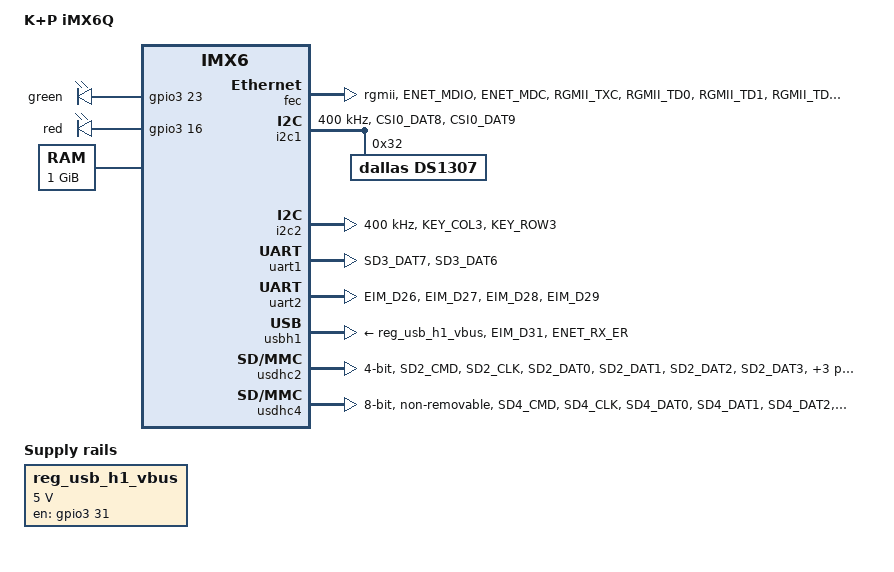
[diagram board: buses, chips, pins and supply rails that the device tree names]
// SPDX-License-Identifier: GPL-2.0+
/*
 * Copyright 2018
 * Lukasz Majewski, DENX Software Engineering, lukma@denx.de
 *
 * SPDX-License-Identifier:     GPL-2.0+ or X11
 */

/dts-v1/;
#include <dt-bindings/gpio/gpio.h>
#include "imx6q.dtsi"

/ {
	model = "K+P iMX6Q";
	compatible = "kp,imx6-kp", "fsl,imx6";

	aliases {
		mmc0 = &usdhc2;
		mmc1 = &usdhc4;
		usb1 = &usbh1;
	};

	chosen {
		stdout-path = &uart1;
	};

	leds {
		compatible = "gpio-leds";
		pinctrl-names = "default";
		pinctrl-0 = <&pinctrl_leds>;

		green {
			label = "green";
			gpios = <&gpio3 23 GPIO_ACTIVE_HIGH>;
			linux,default-trigger = "gpio";
			default-state = "off";
		};

		red {
			label = "red";
			gpios = <&gpio3 16 GPIO_ACTIVE_HIGH>;
			linux,default-trigger = "gpio";
			default-state = "off";
		};
	};

	memory@10000000 {
		reg = <0x10000000 0x40000000>;
	};

	reg_usb_h1_vbus: regulator-usb_h1_vbus {
		compatible = "regulator-fixed";
		regulator-name = "usb_h1_vbus";
		regulator-min-microvolt = <5000000>;
		regulator-max-microvolt = <5000000>;
		gpio = <&gpio3 31 GPIO_ACTIVE_HIGH>;
		enable-active-high;
	};
};

&fec {
	pinctrl-names = "default";
	pinctrl-0 = <&pinctrl_enet>;
	phy-reset-gpios = <&gpio1 25 GPIO_ACTIVE_LOW>;
	phy-reset-duration = <10>;
	phy-mode = "rgmii";
	fsl,magic-packet;
	fsl,enet-loopback-clk; /* anatop reference clk via PAD loopback */
	fsl,enet-freq = <1>; /* ENET_25MHZ  = 0, ENET_50MHZ  = 1 */
			     /* ENET_100MHZ = 2, ENET_125MHZ = 3 */
	status = "okay";
};

&i2c1 {
	clock-frequency = <400000>;
	pinctrl-names = "default";
	pinctrl-0 = <&pinctrl_i2c1>;
	status = "okay";

	ds1307: rtc@32 {
		compatible = "dallas,ds1307";
		reg = <0x32>;
	};
};

&i2c2 {
	clock-frequency = <400000>;
	pinctrl-names = "default";
	pinctrl-0 = <&pinctrl_i2c2>;
	status = "okay";
};

&iomuxc {
	pinctrl_enet: enetgrp {
		fsl,pins = <
			MX6QDL_PAD_ENET_MDIO__ENET_MDIO	0x1b0b0
			MX6QDL_PAD_ENET_MDC__ENET_MDC		0x1b0b0
			MX6QDL_PAD_RGMII_TXC__RGMII_TXC	0x1b0b0
			MX6QDL_PAD_RGMII_TD0__RGMII_TD0	0x1b0b0
			MX6QDL_PAD_RGMII_TD1__RGMII_TD1	0x1b0b0
			MX6QDL_PAD_RGMII_TD2__RGMII_TD2	0x1b0b0
			MX6QDL_PAD_RGMII_TD3__RGMII_TD3	0x1b0b0
			MX6QDL_PAD_RGMII_TX_CTL__RGMII_TX_CTL	0x1b0b0
			MX6QDL_PAD_ENET_REF_CLK__ENET_TX_CLK	0x1b0b0
			MX6QDL_PAD_RGMII_RXC__RGMII_RXC	0x1b0b0
			MX6QDL_PAD_RGMII_RD0__RGMII_RD0	0x1b0b0
			MX6QDL_PAD_RGMII_RD1__RGMII_RD1	0x1b0b0
			MX6QDL_PAD_RGMII_RD2__RGMII_RD2	0x1b0b0
			MX6QDL_PAD_RGMII_RD3__RGMII_RD3	0x1b0b0
			MX6QDL_PAD_RGMII_RX_CTL__RGMII_RX_CTL	0x1b0b0
			MX6QDL_PAD_GPIO_16__ENET_REF_CLK 0x4001b0a8
			MX6QDL_PAD_ENET_CRS_DV__GPIO1_IO25	0x1b0b0
		>;
	};

	pinctrl_leds: gpioledsgrp {
		fsl,pins = <
			MX6QDL_PAD_EIM_D23__GPIO3_IO23          0x4001b0b0
			MX6QDL_PAD_EIM_D16__GPIO3_IO16          0x4001b0b0
		>;
	};

	pinctrl_i2c1: i2c1grp {
		fsl,pins = <
			MX6QDL_PAD_CSI0_DAT8__I2C1_SDA	0x4001b8b1
			MX6QDL_PAD_CSI0_DAT9__I2C1_SCL	0x4001b8b1
		>;
	};

	pinctrl_i2c2: i2c2grp {
		fsl,pins = <
			MX6QDL_PAD_KEY_COL3__I2C2_SCL	0x4001b8b1
			MX6QDL_PAD_KEY_ROW3__I2C2_SDA	0x4001b8b1
		 >;
	};

	pinctrl_uart1: uart1grp {
		fsl,pins = <
			MX6QDL_PAD_SD3_DAT7__UART1_TX_DATA	0x1b0b1
			MX6QDL_PAD_SD3_DAT6__UART1_RX_DATA	0x1b0b1
		>;
	};

	pinctrl_uart2: uart2grp {
		fsl,pins = <
			MX6QDL_PAD_EIM_D26__UART2_TX_DATA       0x1b0b1
			MX6QDL_PAD_EIM_D27__UART2_RX_DATA       0x1b0b1
			MX6QDL_PAD_EIM_D28__UART2_CTS_B         0x1b0b1
			MX6QDL_PAD_EIM_D29__UART2_RTS_B         0x1b0b1
		>;
	};

	pinctrl_usbh1: usbh1grp {
		fsl,pins = <
			MX6QDL_PAD_EIM_D31__GPIO3_IO31          0x1b0b1
			MX6QDL_PAD_ENET_RX_ER__USB_OTG_ID       0x17059
		>;
	};

	pinctrl_usdhc2: usdhc2grp {
		fsl,pins = <
			MX6QDL_PAD_SD2_CMD__SD2_CMD		0x17019
			MX6QDL_PAD_SD2_CLK__SD2_CLK		0x10019
			MX6QDL_PAD_SD2_DAT0__SD2_DATA0		0x17019
			MX6QDL_PAD_SD2_DAT1__SD2_DATA1		0x17019
			MX6QDL_PAD_SD2_DAT2__SD2_DATA2		0x17019
			MX6QDL_PAD_SD2_DAT3__SD2_DATA3		0x17019
			MX6QDL_PAD_NANDF_CS3__GPIO6_IO16        0x20000
			MX6QDL_PAD_GPIO_4__GPIO1_IO04           0x20000
		>;
	};

	pinctrl_usdhc4: usdhc4grp {
		fsl,pins = <
			MX6QDL_PAD_SD4_CMD__SD4_CMD		0x17019
			MX6QDL_PAD_SD4_CLK__SD4_CLK		0x10019
			MX6QDL_PAD_SD4_DAT0__SD4_DATA0		0x17019
			MX6QDL_PAD_SD4_DAT1__SD4_DATA1		0x17019
			MX6QDL_PAD_SD4_DAT2__SD4_DATA2		0x17019
			MX6QDL_PAD_SD4_DAT3__SD4_DATA3		0x17019
			MX6QDL_PAD_SD4_DAT4__SD4_DATA4		0x17019
			MX6QDL_PAD_SD4_DAT5__SD4_DATA5		0x17019
			MX6QDL_PAD_SD4_DAT6__SD4_DATA6		0x17019
			MX6QDL_PAD_SD4_DAT7__SD4_DATA7		0x17019
		>;
	};
};

&uart1 {
	pinctrl-names = "default";
	pinctrl-0 = <&pinctrl_uart1>;
	status = "okay";
};

&uart2 {
	pinctrl-names = "default";
	pinctrl-0 = <&pinctrl_uart2>;
	uart-has-rtscts;
};

&usbh1 {
	pinctrl-names = "default";
	pinctrl-0 = <&pinctrl_usbh1>;
	vbus-supply = <&reg_usb_h1_vbus>;
	status = "okay";
};

&usdhc2 {
	pinctrl-names = "default";
	pinctrl-0 = <&pinctrl_usdhc2>;
	bus-width = <4>;
	cd-gpios = <&gpio1 4 GPIO_ACTIVE_LOW>;
	status = "okay";
};

&usdhc4 {
	pinctrl-names = "default";
	pinctrl-0 = <&pinctrl_usdhc4>;
	bus-width = <8>;
	non-removable;
	no-1-8-v;
	keep-power-in-suspend;
	status = "okay";
};
